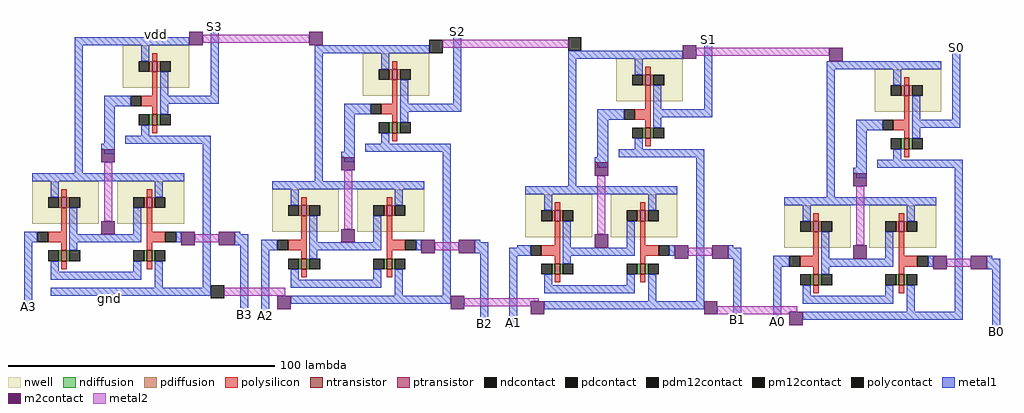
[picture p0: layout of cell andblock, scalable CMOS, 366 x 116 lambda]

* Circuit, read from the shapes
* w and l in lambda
.subckt andblock A0 A1 A2 A3 B0 B1 B2 B3 S0 S1 S2 S3 gnd vdd
M1 AND_0/not_0/in A3 n1 VSUBS nfet w=4 l=2
M2 gnd B3 n1 VSUBS nfet w=4 l=2
M3 S3 AND_0/not_0/in gnd VSUBS nfet w=4 l=2
M4 AND_1/not_0/in A2 n2 VSUBS nfet w=4 l=2
M5 gnd B2 n2 VSUBS nfet w=4 l=2
M6 S2 AND_1/not_0/in gnd VSUBS nfet w=4 l=2
M7 AND_2/not_0/in A1 n3 VSUBS nfet w=4 l=2
M8 gnd B1 n3 VSUBS nfet w=4 l=2
M9 S1 AND_2/not_0/in gnd VSUBS nfet w=4 l=2
M10 AND_3/not_0/in A0 n4 VSUBS nfet w=4 l=2
M11 gnd B0 n4 VSUBS nfet w=4 l=2
M12 S0 AND_3/not_0/in gnd VSUBS nfet w=4 l=2
M13 AND_0/not_0/in A3 vdd n5 pfet w=4 l=2
M14 vdd B3 AND_0/not_0/in n6 pfet w=4 l=2
M15 S3 AND_0/not_0/in vdd n7 pfet w=4 l=2
M16 AND_1/not_0/in A2 vdd n8 pfet w=4 l=2
M17 vdd B2 AND_1/not_0/in n9 pfet w=4 l=2
M18 S2 AND_1/not_0/in vdd n10 pfet w=4 l=2
M19 AND_2/not_0/in A1 vdd n11 pfet w=4 l=2
M20 vdd B1 AND_2/not_0/in n12 pfet w=4 l=2
M21 S1 AND_2/not_0/in vdd n13 pfet w=4 l=2
M22 AND_3/not_0/in A0 vdd n14 pfet w=4 l=2
M23 vdd B0 AND_3/not_0/in n15 pfet w=4 l=2
M24 S0 AND_3/not_0/in vdd n16 pfet w=4 l=2
.ends

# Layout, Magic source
magic
tech scmos
<< metal1 >>
rect 24 94 27 96
rect 46 72 49 99
rect 38 69 49 72
rect 137 69 140 97
rect 128 66 140 69
rect 231 67 234 94
rect 223 64 234 67
rect 324 63 327 91
rect 320 60 327 63
rect -24 -8 -21 17
rect 5 -5 11 -3
rect 57 -12 60 20
rect 65 14 66 18
rect 65 -12 68 14
rect 147 -15 150 17
rect 158 -15 161 15
rect 242 -13 245 15
rect 257 8 258 12
rect 257 -13 260 8
rect 339 -17 342 11
<< m2contact >>
rect 38 91 43 96
rect 83 91 88 96
rect 223 86 228 91
rect 278 85 283 90
rect 71 -8 76 -3
rect 136 -8 141 -3
rect 166 -10 171 -5
rect 231 -10 236 -5
rect 263 -14 268 -9
<< pm12contact >>
rect 128 88 133 93
rect 180 89 185 94
<< pdm12contact >>
rect 46 -4 51 1
<< metal2 >>
rect 43 92 83 95
rect 133 90 180 93
rect 228 87 278 90
rect 51 -3 74 0
rect 141 -5 169 -4
rect 141 -7 166 -5
rect 236 -9 266 -7
rect 236 -10 263 -9
use AND  AND_0
transform 1 0 -20 0 1 -4
box -4 1 77 98
use AND  AND_1
transform 1 0 70 0 1 -7
box -4 1 77 98
use AND  AND_2
transform 1 0 165 0 1 -9
box -4 1 77 98
use AND  AND_3
transform 1 0 262 0 1 -13
box -4 1 77 98
<< labels >>
rlabel metal1 -24 -8 -21 -6 2 A3
rlabel metal1 57 -12 60 -8 1 B3
rlabel metal1 46 97 49 99 5 S3
rlabel metal1 147 -15 150 -12 8 B2
rlabel metal1 137 95 140 97 5 S2
rlabel metal1 65 -12 68 -9 1 A2
rlabel metal1 5 -5 11 -3 1 gnd
rlabel metal1 158 -15 161 -11 1 A1
rlabel metal1 242 -13 245 -11 8 B1
rlabel metal1 24 94 27 96 5 vdd
rlabel metal1 231 92 234 94 1 S1
rlabel metal1 257 -13 260 -12 1 A0
rlabel metal1 339 -17 342 -16 8 B0
rlabel metal1 324 89 327 91 1 S0
<< end >>

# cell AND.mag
magic
tech scmos
<< metal1 >>
rect 15 95 33 98
rect 15 47 18 95
rect 26 72 34 76
rect 55 73 58 76
rect 26 58 30 72
rect 58 58 66 61
rect 26 54 30 56
rect -4 21 -2 25
rect 63 4 66 58
rect 75 20 77 25
rect 48 1 66 4
<< m2contact >>
rect 55 20 60 25
rect 69 20 75 25
<< metal2 >>
rect 60 21 69 24
use NAND  NAND_0
transform 1 0 -1 0 1 28
box -1 -27 57 30
use not  not_0
transform 1 0 33 0 1 79
box 0 -21 25 19
<< labels >>
rlabel metal1 55 73 58 76 1 out
rlabel metal1 -4 21 -2 25 3 in1
rlabel metal1 75 20 77 25 7 in2
rlabel metal1 48 1 66 4 1 gnd
rlabel metal1 15 95 20 98 5 vdd
<< end >>

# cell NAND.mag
magic
tech scmos
<< nwell >>
rect 0 0 25 16
rect 32 0 57 16
<< ntransistor >>
rect 11 -14 13 -10
rect 43 -14 45 -10
<< ptransistor >>
rect 11 6 13 10
rect 43 6 45 10
<< ndiffusion >>
rect 10 -14 11 -10
rect 13 -14 14 -10
rect 42 -14 43 -10
rect 45 -14 46 -10
<< pdiffusion >>
rect 10 6 11 10
rect 13 6 14 10
rect 42 6 43 10
rect 45 6 46 10
<< ndcontact >>
rect 6 -14 10 -10
rect 14 -14 18 -10
rect 38 -14 42 -10
rect 46 -14 50 -10
<< pdcontact >>
rect 6 6 10 10
rect 14 6 18 10
rect 38 6 42 10
rect 46 6 50 10
<< polysilicon >>
rect 11 10 13 13
rect 43 10 45 13
rect 11 -3 13 6
rect 6 -7 13 -3
rect 11 -10 13 -7
rect 43 -3 45 6
rect 43 -7 50 -3
rect 43 -10 45 -7
rect 11 -17 13 -14
rect 43 -17 45 -14
<< polycontact >>
rect 2 -7 6 -3
rect 50 -7 54 -3
<< metal1 >>
rect 26 28 31 30
rect 0 16 57 19
rect 7 10 10 16
rect 46 10 49 16
rect -1 -7 2 -3
rect 14 -4 17 6
rect 38 -4 41 6
rect 14 -7 41 -4
rect 54 -7 56 -3
rect 14 -10 17 -7
rect 7 -18 10 -14
rect 38 -18 41 -14
rect 7 -21 41 -18
rect 46 -24 49 -14
rect 7 -27 49 -24
<< m2contact >>
rect 26 23 31 28
rect 26 -4 31 1
<< metal2 >>
rect 27 1 30 23
<< labels >>
rlabel metal1 0 16 57 19 5 vdd
rlabel metal1 0 -7 2 -3 3 in1
rlabel metal1 54 -7 56 -3 7 in2
rlabel metal1 26 28 31 30 5 out
rlabel metal1 7 -27 49 -24 1 gnd
<< end >>

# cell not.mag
magic
tech scmos
<< nwell >>
rect 0 0 25 16
<< ntransistor >>
rect 11 -14 13 -10
<< ptransistor >>
rect 11 6 13 10
<< ndiffusion >>
rect 10 -14 11 -10
rect 13 -14 14 -10
<< pdiffusion >>
rect 10 6 11 10
rect 13 6 14 10
<< ndcontact >>
rect 6 -14 10 -10
rect 14 -14 18 -10
<< pdcontact >>
rect 6 6 10 10
rect 14 6 18 10
<< polysilicon >>
rect 11 10 13 13
rect 11 -3 13 6
rect 7 -7 13 -3
rect 11 -10 13 -7
rect 11 -17 13 -14
<< polycontact >>
rect 3 -7 7 -3
<< metal1 >>
rect 0 16 25 19
rect 7 10 10 16
rect 14 -3 17 6
rect 1 -7 3 -3
rect 14 -6 22 -3
rect 14 -10 17 -6
rect 7 -18 10 -14
rect 1 -21 25 -18
<< labels >>
rlabel metal1 0 16 25 19 5 vdd
rlabel metal1 17 -6 22 -3 1 out
rlabel metal1 1 -7 3 -3 3 in
rlabel metal1 1 -21 25 -18 1 gnd
<< end >>
